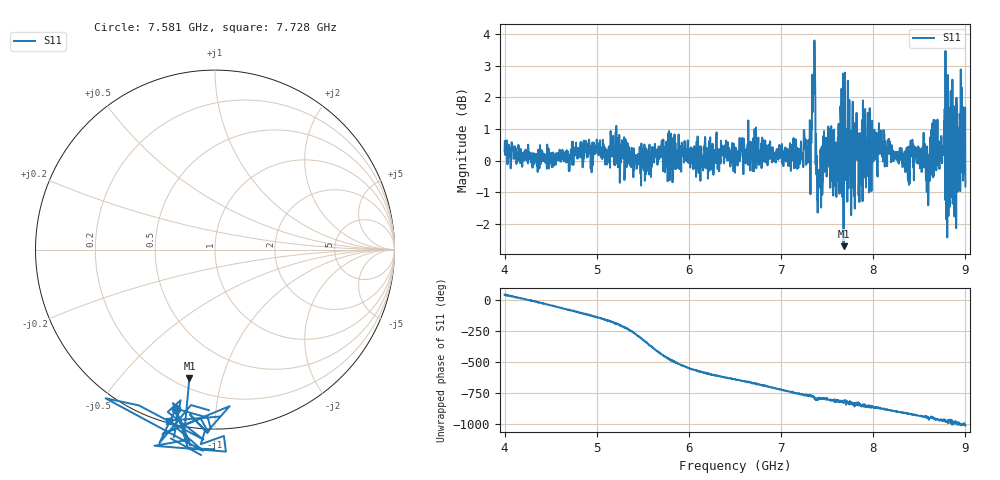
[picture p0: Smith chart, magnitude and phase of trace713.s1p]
! Created with skrf 1.8.0 (http://scikit-rf.org).
# Hz S RI R 50.0
!freq ReS11 ImS11
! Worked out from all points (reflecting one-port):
!   1601 points, 4 GHz to 9 GHz, reference 50 ohm
!   lowest |S11| = -2.7 dB at 7.678 GHz (marker M1), VSWR 6.46, Z = 12.8 - j39.4 ohm
!   phase of S11 starts at 44 deg and turns -1057 deg over the sweep
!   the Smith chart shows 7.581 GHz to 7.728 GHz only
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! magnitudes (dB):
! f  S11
! 4 GHz  0.3
! 4.625 GHz  0.1
! 5.25 GHz  -0.7
! 5.875 GHz  -0.2
! 6.5 GHz  -0.4
! 7.125 GHz  0.4
! 7.297 GHz  0.6
! 7.347 GHz  2.5
! 7.362 GHz  3.8
! 7.397 GHz  -1.7
! 7.409 GHz  -0.9
! 7.503 GHz  0.7
! 7.588 GHz  0.0
! 7.631 GHz  -0.6
! 7.678 GHz  -2.7
! 7.75 GHz  -0.1
! 7.769 GHz  -0.6
! 7.822 GHz  0.0
! 7.859 GHz  0.9
! 8.075 GHz  0.7
! 8.375 GHz  -0.6
! 8.441 GHz  -0.6
! 8.588 GHz  -0.2
! 8.656 GHz  1.3
! 8.788 GHz  -0.7
! 8.875 GHz  0.5
! 8.959 GHz  2.3
! 9 GHz  -0.8
